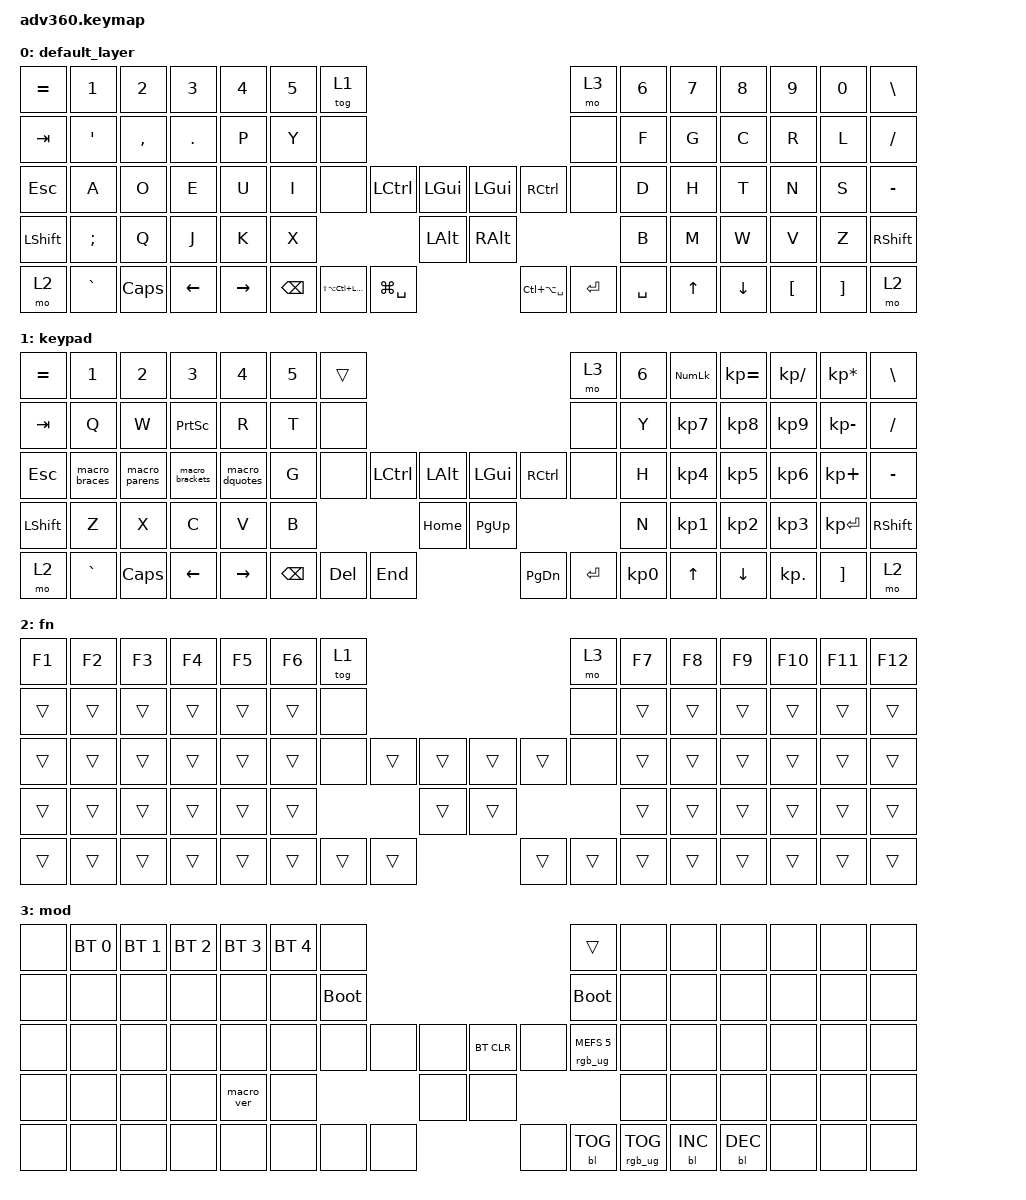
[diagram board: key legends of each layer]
#include <behaviors.dtsi>
#include <dt-bindings/zmk/backlight.h>
#include <dt-bindings/zmk/bt.h>
#include <dt-bindings/zmk/keys.h>
#include <dt-bindings/zmk/rgb.h>

/ {
    behaviors {
        #include "macros.dtsi"
      #include "version.dtsi"
      #ifndef VERSION_MACRO

        macro_ver: macro_ver {
            compatible = "zmk,behavior-macro";
            label = "macro_version";
            #binding-cells = <0>;
            bindings = <&kp RET>;
        };

        macro_parens: macro_parens {
            compatible = "zmk,behavior-macro";
            #binding-cells = <0>;
            bindings = <&kp LEFT_PARENTHESIS &kp RIGHT_PARENTHESIS &kp LEFT>;
            label = "MACRO_PARENS";
        };

        macro_bracket: macro_bracket {
            compatible = "zmk,behavior-macro";
            #binding-cells = <0>;
            bindings = <&kp LEFT_BRACKET &kp RIGHT_BRACKET &kp LEFT>;
            label = "MACRO_BRACKET";
        };

        macro_brace: macro_brace {
            compatible = "zmk,behavior-macro";
            #binding-cells = <0>;
            bindings = <&kp LEFT_BRACE &kp RIGHT_BRACE &kp LEFT>;
            label = "MACRO_BRACE";
        };

        macro_golang: macro_golang {
            compatible = "zmk,behavior-macro";
            #binding-cells = <0>;
            bindings = <&kp COLON &kp EQUAL &kp SPACE>;
            label = "MACRO_GOLANG";
        };

        #endif

        hm: homerow_mods {
            compatible = "zmk,behavior-hold-tap";
            label = "HOMEROW_MODS";
            #binding-cells = <2>;
            tapping-term-ms = <250>;
            quick-tap-ms = <0>;
            flavor = "tap-preferred";
            bindings = <&kp>, <&kp>;
        };
    };

    macros {
    };

    keymap {
        compatible = "zmk,keymap";

        default_layer {
            bindings = <
&kp EQUAL  &kp N1     &kp N2     &kp N3    &kp N4     &kp N5  &tog 1                                                                                                &mo 3  &kp N6  &kp N7  &kp N8    &kp N9    &kp N0    &kp BSLH
&kp TAB    &kp SQT    &kp COMMA  &kp DOT   &kp P      &kp Y   &none                                                                                                 &none  &kp F   &kp G   &kp C     &kp R     &kp L     &kp FSLH
&kp ESC    &kp A      &kp O      &kp E     &kp U      &kp I   &none             &kp LCTRL                 &kp LEFT_GUI     &kp LGUI           &kp RCTRL             &none  &kp D   &kp H   &kp T     &kp N     &kp S     &kp MINUS
&kp LSHFT  &kp SEMI   &kp Q      &kp J     &kp K      &kp X                                               &kp LEFT_ALT     &kp RALT                                        &kp B   &kp M   &kp W     &kp V     &kp Z     &kp RSHFT
&mo 2      &kp GRAVE  &kp CAPS   &kp LEFT  &kp RIGHT                  &kp BSPC  &kp LS(LA(LC(LEFT_GUI)))  &kp LG(SPACE)    &kp LC(LA(SPACE))  &kp ENTER  &kp SPACE                 &kp UP  &kp DOWN  &kp LBKT  &kp RBKT  &mo 2
            >;
        };

        keypad {
            bindings = <
&kp EQUAL  &kp N1        &kp N2         &kp N3          &kp N4         &kp N5  &trans                                                                    &mo 3  &kp N6  &kp KP_NUM  &kp KP_EQUAL  &kp KP_DIVIDE  &kp KP_MULTIPLY  &kp BSLH
&kp TAB    &kp Q         &kp W          &kp PSCRN       &kp R          &kp T   &none                                                                     &none  &kp Y   &kp KP_N7   &kp KP_N8     &kp KP_N9      &kp KP_MINUS     &kp FSLH
&kp ESC    &macro_braces  &macro_parens  &macro_brackets  &macro_dquotes  &kp G   &none             &kp LCTRL  &kp LALT    &kp LGUI   &kp RCTRL             &none  &kp H   &kp KP_N4   &kp KP_N5     &kp KP_N6      &kp KP_PLUS      &kp MINUS
&kp LSHFT  &kp Z         &kp X          &kp C           &kp V          &kp B                                &kp HOME    &kp PG_UP                               &kp N   &kp KP_N1   &kp KP_N2     &kp KP_N3      &kp KP_ENTER     &kp RSHFT
&mo 2      &kp GRAVE     &kp CAPS       &kp LEFT        &kp RIGHT                      &kp BSPC  &kp DEL    &kp END     &kp PG_DN  &kp ENTER  &kp KP_N0                 &kp UP      &kp DOWN      &kp KP_DOT     &kp RBKT         &mo 2
            >;
        };

        fn {
            bindings = <
&kp F1  &kp F2  &kp F3  &kp F4  &kp F5  &kp F6  &tog 1                                                    &mo 3  &kp F7  &kp F8  &kp F9  &kp F10  &kp F11  &kp F12
&trans  &trans  &trans  &trans  &trans  &trans  &none                                                     &none  &trans  &trans  &trans  &trans   &trans   &trans
&trans  &trans  &trans  &trans  &trans  &trans  &none           &trans  &trans    &trans  &trans          &none  &trans  &trans  &trans  &trans   &trans   &trans
&trans  &trans  &trans  &trans  &trans  &trans                          &trans    &trans                         &trans  &trans  &trans  &trans   &trans   &trans
&trans  &trans  &trans  &trans  &trans                  &trans  &trans  &trans    &trans  &trans  &trans                 &trans  &trans  &trans   &trans   &trans
            >;
        };

        mod {
            bindings = <
&none  &bt BT_SEL 0  &bt BT_SEL 1  &bt BT_SEL 2  &bt BT_SEL 3  &bt BT_SEL 4  &none                                                                        &trans                  &none  &none       &none       &none  &none  &none
&none  &none         &none         &none         &none         &none         &bootloader                                                                  &bootloader             &none  &none       &none       &none  &none  &none
&none  &none         &none         &none         &none         &none         &none               &none  &none    &bt BT_CLR  &none                        &rgb_ug RGB_MEFS_CMD 5  &none  &none       &none       &none  &none  &none
&none  &none         &none         &none         &macro_ver    &none                                    &none    &none                                                            &none  &none       &none       &none  &none  &none
&none  &none         &none         &none         &none                                    &none  &none  &none    &none       &bl BL_TOG  &rgb_ug RGB_TOG                                 &bl BL_INC  &bl BL_DEC  &none  &none  &none
            >;
        };
    };
};
